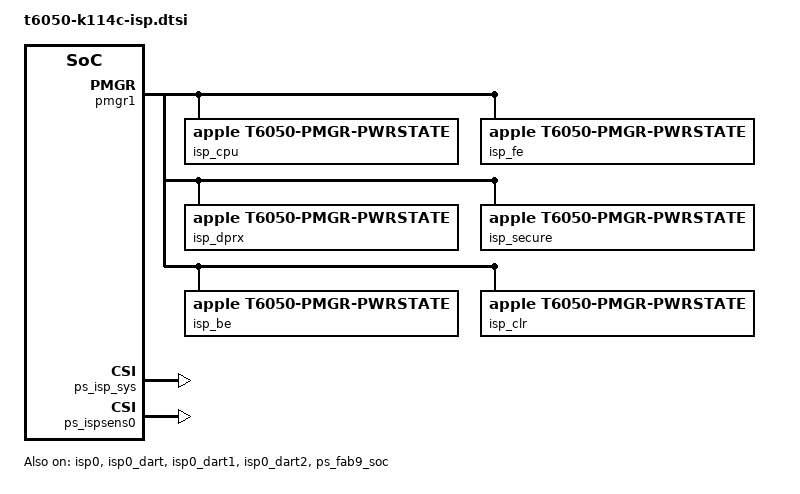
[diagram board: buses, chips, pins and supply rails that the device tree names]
// SPDX-License-Identifier: GPL-2.0+ OR MIT
/*
 * K114c camera (IMX958, ADT platform id 0xb9).
 *
 * The firmware segments are placed statically from the K114c ADT isp0
 * segment-ranges, which iBoot fills before the kernel runs: text 0x10001228000
 * size 0xc1c000, data 0x10002930000 size 0x13d0000, and 32 MiB of main memory
 * at IOVA 0x100_0000_0000. There is no "isp" alias, so the loader leaves the
 * node alone. The addresses move with iBoot: re-read them after an update.
 * These values were read from, and booted on, one K114c.
 *
 * The K114c ADT has no camera-light GPIO (eic cil 1, mil 1, no cil-gpio-offset
 * or config), so no light property is given and the driver does not wait on one.
 */
&{/reserved-memory} {
	isp_fw_text: isp-firmware-text@10001228000 {
		reg = <0x100 0x01228000 0x0 0xc1c000>;
		iommu-addresses = <&isp0 0x100 0x0 0x0 0xc1c000>;
		no-map;
	};

	isp_fw_data: isp-firmware-data@10002930000 {
		reg = <0x100 0x02930000 0x0 0x13d0000>;
		iommu-addresses = <&isp0 0x100 0xc1c000 0x0 0x13d0000>;
		no-map;
	};

	isp_heap: isp-heap {
		iommu-addresses = <&isp0 0x100 0x0 0x0 0x2000000>;
	};
};

&isp0 {
	/delete-property/ clocks;
	compatible = "apple,t6050-isp", "apple,isp";
	reg = <0x5 0x80000000 0 0x1604000>,
	      <0x5 0x82924000 0 0x40>,
	      <0x5 0x829241d0 0 0x20>,
	      <0x5 0x82924464 0 0x10>,
	      <0x5 0xc3b50000 0 0x8000>;
	reg-names = "coproc", "mbox", "gpio", "mbox2", "wdt";
	interrupts = <AIC_IRQ 0 513 IRQ_TYPE_LEVEL_HIGH>;
	iommus = <&isp0_dart 0>, <&isp0_dart 12>,
		 <&isp0_dart1 0>, <&isp0_dart1 12>,
		 <&isp0_dart2 0>, <&isp0_dart2 12>;
	power-domains = <&ps_isp_sys>, <&ps_isp_cpu>, <&ps_isp_fe>,
			<&ps_ispsens0>, <&ps_isp_dprx>, <&ps_isp_secure>,
			<&ps_isp_be>, <&ps_isp_clr>;
	apple,dart-vm-size = /bits/ 64 <0xde600000>;
	apple,platform-id = <0xb9>;
	apple,temporal-filter = <1>;
	apple,cam-connections-scheme = <0x10>;
	memory-region = <&isp_fw_text>, <&isp_fw_data>, <&isp_heap>;
	memory-region-names = "text", "data", "heap";
	apple,camera-indicator = <&dcp>;
	status = "okay";
	sensor-presets {
		preset0 {
			apple,config-index = <6>;
			apple,input-size = <3040 2880>;
			apple,output-size = <1920 1080>;
			apple,crop = <320 765 2400 1350>;
		};
	};
};

&isp0_dart {
	compatible = "apple,t6050-isp-dart", "apple,t8110-dart";
	reg = <0x5 0x828c0000 0 0xc000>, <0x5 0x828d0000 0 0x4000>;
	reg-names = "dart", "dapf";
	#iommu-cells = <1>;
	interrupts = <AIC_IRQ 0 531 IRQ_TYPE_LEVEL_HIGH>;
	power-domains = <&ps_isp_sys>;
	apple,remap-streams = <1 0>, <6 0>, <7 0>, <10 0>, <11 0>;
	status = "okay";
};

&isp0_dart1 {
	compatible = "apple,t6050-isp-dart", "apple,t8110-dart";
	reg = <0x5 0x828e0000 0 0xc000>;
	reg-names = "dart";
	#iommu-cells = <1>;
	interrupts = <AIC_IRQ 0 531 IRQ_TYPE_LEVEL_HIGH>;
	power-domains = <&ps_isp_sys>;
	apple,remap-streams = <1 0>, <6 0>, <7 0>, <10 0>, <11 0>;
	status = "okay";
};

&isp0_dart2 {
	compatible = "apple,t6050-isp-dart", "apple,t8110-dart";
	reg = <0x5 0x82900000 0 0xc000>;
	reg-names = "dart";
	#iommu-cells = <1>;
	interrupts = <AIC_IRQ 0 531 IRQ_TYPE_LEVEL_HIGH>;
	power-domains = <&ps_isp_sys>;
	apple,remap-streams = <1 0>, <6 0>, <7 0>, <10 0>, <11 0>;
	status = "okay";
};

&pmgr1 {
	ps_isp_cpu: power-controller@3b0 {
		compatible = "apple,t6050-pmgr-pwrstate", "apple,t8103-pmgr-pwrstate";
		reg = <0x3b0 4>;
		#power-domain-cells = <0>;
		#reset-cells = <0>;
		label = "isp_cpu";
		apple,no-auto-pm;
		power-domains = <&ps_isp_sys>;
	};
	ps_isp_fe: power-controller@3b8 {
		compatible = "apple,t6050-pmgr-pwrstate", "apple,t8103-pmgr-pwrstate";
		reg = <0x3b8 4>;
		#power-domain-cells = <0>;
		#reset-cells = <0>;
		label = "isp_fe";
		apple,no-auto-pm;
		power-domains = <&ps_isp_sys>;
	};
	ps_isp_dprx: power-controller@3d8 {
		compatible = "apple,t6050-pmgr-pwrstate", "apple,t8103-pmgr-pwrstate";
		reg = <0x3d8 4>;
		#power-domain-cells = <0>;
		#reset-cells = <0>;
		label = "isp_dprx";
		apple,no-auto-pm;
		power-domains = <&ps_isp_sys>;
	};
	ps_isp_secure: power-controller@3e0 {
		compatible = "apple,t6050-pmgr-pwrstate", "apple,t8103-pmgr-pwrstate";
		reg = <0x3e0 4>;
		#power-domain-cells = <0>;
		#reset-cells = <0>;
		label = "isp_secure";
		apple,no-auto-pm;
		power-domains = <&ps_isp_sys>;
	};
	ps_isp_be: power-controller@3e8 {
		compatible = "apple,t6050-pmgr-pwrstate", "apple,t8103-pmgr-pwrstate";
		reg = <0x3e8 4>;
		#power-domain-cells = <0>;
		#reset-cells = <0>;
		label = "isp_be";
		apple,no-auto-pm;
		power-domains = <&ps_isp_sys>;
	};
	ps_isp_clr: power-controller@3f0 {
		compatible = "apple,t6050-pmgr-pwrstate", "apple,t8103-pmgr-pwrstate";
		reg = <0x3f0 4>;
		#power-domain-cells = <0>;
		#reset-cells = <0>;
		label = "isp_clr";
		apple,no-auto-pm;
		power-domains = <&ps_isp_sys>;
	};
};

&ps_fab9_soc {
	/delete-property/ power-domains;
	apple,no-auto-pm;
	apple,firmware-owned;
	status = "okay";
};

&ps_isp_sys {
	apple,no-auto-pm;
	apple,always-on;
	status = "okay";
};

&ps_ispsens0 {
	apple,no-auto-pm;
	status = "okay";
};
